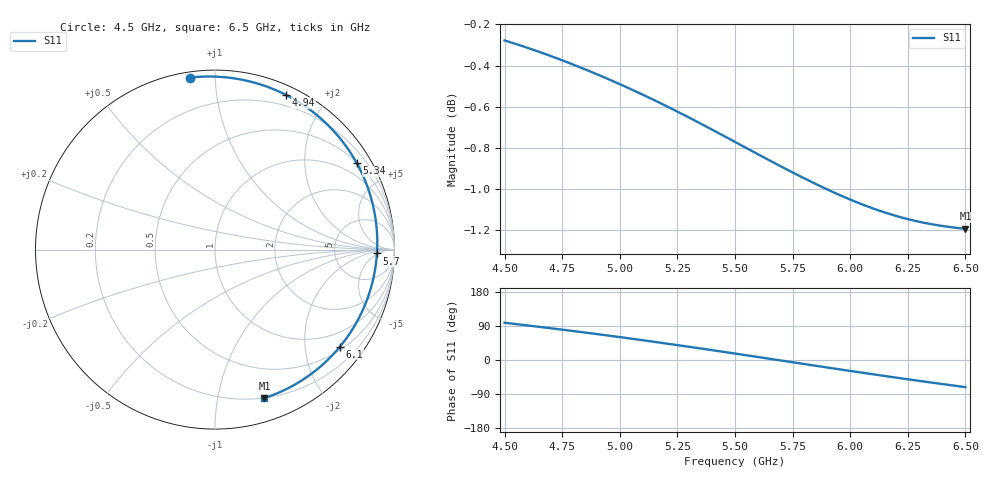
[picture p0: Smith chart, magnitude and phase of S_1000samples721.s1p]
! TOUCHSTONE file generated by CST MICROWAVE STUDIO
! Date and time: Sat Oct 29 03:55:53 2022
! Project name: L.cst
! Parameters = {Di=1.27; Epsilon_r=1.56; InnerDiameter=1.27; Length=2; Lf=10; Lg=60; OuterConductorThickness=0.2921; OuterDiameter=3.6; Wf=3; Wp=41.2; de=1.5; df=6.8; g=0.8; gx=3.30464; gy=4.77323; h=2.34; hf=1.524; px=8.50439; py=8.67803; w=9.7; wx=5.19975; wy=3.9048}
! Header version: 2018
! Port assignment regex: !\s*Touchstone port\s*([0-9]+)\s*=\s*(CST MWS port|CST DS port)\s*([0-9]+|Zmin|Zmax)\s*\(\"(.*)\"\)(\s*mode\s*([0-9]+))?.*
! Touchstone port assignment:
! Touchstone port 1 = CST MWS port 1 ("")
# GHz S DB R 50
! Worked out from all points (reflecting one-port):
!   101 points, 4.5 GHz to 6.5 GHz, reference 50 ohm
!   lowest |S11| = -1.2 dB at 6.5 GHz (marker M1), VSWR 14.58, Z = 9.94 - j68.4 ohm
!   phase of S11 starts at 98 deg and turns -170 deg over the sweep
!   S11 on the Smith chart (normalised r, x): 4.5 GHz: 0.03, +0.87; 4.94 GHz: 0.09, +1.56; 5.34 GHz: 0.52, +3.49; 5.7 GHz: 19, -4; 6.1 GHz: 0.58, -2.82; 6.5 GHz: 0.20, -1.37
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4.5  -0.28 98.2
4.58  -0.31 92.6
4.64  -0.33 88.2
4.76  -0.38 79.3
4.86  -0.42 71.6
4.94  -0.46 65.3
5  -0.49 60.4
5.06  -0.52 55.5
5.12  -0.55 50.4
5.18  -0.58 45.3
5.26  -0.63 38.4
5.34  -0.68 31.4
5.42  -0.72 24.2
5.5  -0.77 17.0
5.6  -0.83 7.9
5.7  -0.89 -1.3
5.76  -0.93 -6.9
5.82  -0.96 -12.4
5.88  -0.99 -17.9
5.94  -1.02 -23.4
6  -1.05 -28.8
6.1  -1.10 -37.8
6.18  -1.12 -44.8
6.26  -1.15 -51.7
6.32  -1.16 -56.8
6.38  -1.18 -61.8
6.44  -1.19 -66.7
6.5  -1.19 -71.6
